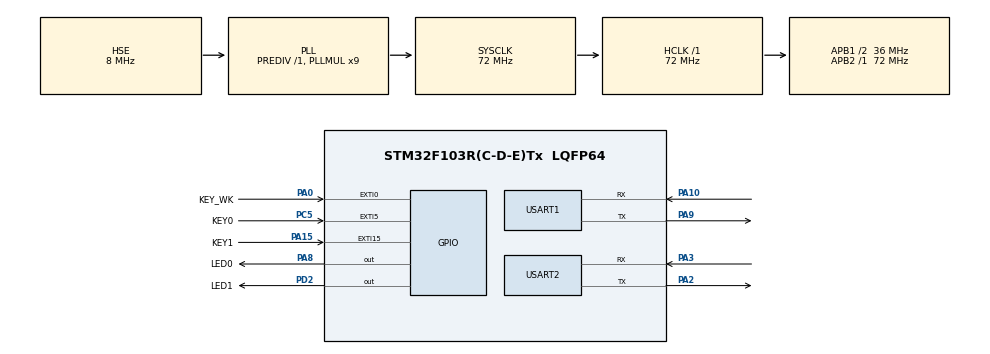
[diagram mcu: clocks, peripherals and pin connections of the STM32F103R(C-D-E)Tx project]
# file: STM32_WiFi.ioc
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Mcu.Family=STM32F1
Mcu.Name=STM32F103R(C-D-E)Tx
Mcu.Package=LQFP64
NVIC.EXTI0_IRQn=true\:1\:0\:true\:false\:true\:true\:true
NVIC.EXTI15_10_IRQn=true\:1\:2\:true\:false\:true\:true\:true
NVIC.EXTI9_5_IRQn=true\:1\:1\:true\:false\:true\:true\:true
NVIC.PriorityGroup=NVIC_PRIORITYGROUP_2
NVIC.TIM3_IRQn=true\:0\:0\:false\:false\:true\:true\:true
NVIC.USART1_IRQn=true\:0\:0\:false\:false\:true\:true\:true
NVIC.USART2_IRQn=true\:0\:1\:true\:false\:true\:true\:true
PA0-WKUP.GPIO_Label=KEY_WK
PA0-WKUP.GPIO_PuPd=GPIO_PULLDOWN
PA0-WKUP.Signal=GPXTI0
PA10.Mode=Asynchronous
PA10.Signal=USART1_RX
PA15.GPIO_Label=KEY1
PA15.GPIO_PuPd=GPIO_PULLDOWN
PA15.Signal=GPXTI15
PA2.Mode=Asynchronous
PA2.Signal=USART2_TX
PA3.Mode=Asynchronous
PA3.Signal=USART2_RX
PA8.GPIO_Label=LED0
PA8.Signal=GPIO_Output
PA9.Mode=Asynchronous
PA9.Signal=USART1_TX
PC5.GPIO_Label=KEY0
PC5.GPIO_PuPd=GPIO_PULLDOWN
PC5.Signal=GPXTI5
PD0-OSC_IN.Mode=HSE-External-Oscillator
PD0-OSC_IN.Signal=RCC_OSC_IN
PD1-OSC_OUT.Mode=HSE-External-Oscillator
PD1-OSC_OUT.Signal=RCC_OSC_OUT
PD2.GPIO_Label=LED1
PD2.Signal=GPIO_Output
ProjectManager.HeapSize=0x200
ProjectManager.StackSize=0x400
ProjectManager.TargetToolchain=STM32CubeIDE
RCC.AHBFreq_Value=72000000
RCC.APB1CLKDivider=RCC_HCLK_DIV2
RCC.APB1Freq_Value=36000000
RCC.APB1TimFreq_Value=72000000
RCC.APB2Freq_Value=72000000
RCC.APB2TimFreq_Value=72000000
RCC.HCLKFreq_Value=72000000
RCC.PLLMUL=RCC_PLL_MUL9
RCC.PLLSourceVirtual=RCC_PLLSOURCE_HSE
RCC.SYSCLKFreq_VALUE=72000000
RCC.SYSCLKSource=RCC_SYSCLKSOURCE_PLLCLK
RCC.USBFreq_Value=72000000
TIM3.Period=9999
TIM3.Prescaler=7199
USART1.VirtualMode=VM_ASYNC
USART2.VirtualMode=VM_ASYNC
VP_SYS_VS_ND.Mode=No_Debug
VP_TIM3_VS_ClockSourceINT.Mode=Internal
board=custom

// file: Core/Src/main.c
/* USER CODE BEGIN Header */
/**
  ******************************************************************************
  * @file           : main.c
  * @brief          : Main program body
  ******************************************************************************
  * @attention
  *
  * <h2><center>&copy; Copyright (c) 2020 STMicroelectronics.
  * All rights reserved.</center></h2>
  *
  * This software component is licensed by ST under BSD 3-Clause license,
  * the "License"; You may not use this file except in compliance with the
  * License. You may obtain a copy of the License at:
  *                        opensource.org/licenses/BSD-3-Clause
  *
  ******************************************************************************
  */
/* USER CODE END Header */

#include "main.h"

/* USER CODE BEGIN Includes */
#include "lcd.h"
#include "string.h"

//start
#include <stdio.h>
#include <string.h>
#include <stdint.h>
//end
/* USER CODE END Includes */

TIM_HandleTypeDef htim3;

UART_HandleTypeDef huart1;
UART_HandleTypeDef huart2;

void SystemClock_Config(void);

static void MX_GPIO_Init(void);

static void MX_TIM3_Init(void);

static void MX_USART2_UART_Init(void);

static void MX_USART1_UART_Init(void);

/* USER CODE BEGIN 0 */
uint8_t RxBuffer1[5000];
uint8_t RxBuffer2[5000];
uint8_t message1[2000]; //message displayed in LCD (most 1999 characters)
int message1_len = 0;
int IsSendingMessage1 = 0;
uint8_t message2[2000]; //message displayed in LCD (most 1999 characters)
int message2_len = 0;
int IsSendingMessage2 = 0;
uint16_t Front1 = 0, Front2 = 0;
uint16_t LastEnd1 = 0, LastEnd2 = 0;
uint16_t End1 = 0, End2 = 0;
int lightMode = 0;
int lightcount = 0;

int HasSendConnectedMessage = 0;
int FrequencyCounter = 10;
int ConnectionCheckCounter = 3;
char ConnectionChecker[] = "^^^^^^^^^^\r\n";
int isSendChecker = 0;
int isConnected = 0;
int Mode = 0; // AP Server = 1; AP Client = 2; STA Server = 3; STA Client = 4

char Reset[] = "AT+RST\r\n";
char SetSingleConnect[] = "AT+CIPMUX=0\r\n";
char SetMultiConnect[] = "AT+CIPMUX=1\r\n";
char Server_SendDataTCP[] = "AT+CIPSEND=0,25\r\n";
char Server_SendDataUDP[] = "AT+CIPSEND=25\r\n";
char Client_SendDataTCP[] = "AT+CIPSEND=25\r\n";
char CloseConnection[] = "AT+CIPCLOSE\r\n";
// AP Mode
char SetAPMode[] = "AT+CWMODE=2\r\n";
char Default_SetWiFiInfo[] = "AT+CWSAP=\"HelloSTM32\",\"12345678\",1,4\r\n";
char Default_SetServerIP[] = "AT+CIPAP=\"192.168.0.123\"\r\n";
char Default_StartServerAndSetPort[] = "AT+CIPSERVER=1,4567\r\n";
// STA Mode
char SetSTAMode[] = "AT+CWMODE=1\r\n";
char Default_ConnectToWiFi[] = "AT+CWJAP=\"HelloSTM32\",\"12345678\"\r\n";
char Default_ConnectToTCPServer[] = "AT+CIPSTART=\"TCP\",\"192.168.0.123\",4567\r\n";
char ConnectToWiFi[] = "AT+CWJAP=\"MZ\",\"lfyz1229\"\r\n";
char ConnectToTCPServer[] = "AT+CIPSTART=\"TCP\",\"192.168.43.196\",8086\r\n";
char ConnectToUDPServer[] = "AT+CIPSTART=\"UDP\",\"ip\",port\r\n";
char SetSeriaNet[] = "AT+CIPMODE=1\r\n";
char StartSerialNet[] = "AT+CIPSEND\r\n";
char CloseSerialNet[] = "+++";

// AP & STA Mode
char SetAPSTAMode[] = "AT+CWMODE=3\r\n";

// Check List
int DefaultTimeout = 200; // true timeout = default * 10
char ResponseOK[] = "OK";
char ResponseError[] = "ERROR";
char ResponseReady[] = "ready";
char CheckConnectionStatus[] = "AT+CIPSTATUS\r\n";
char CheckLocalIP[] = "AT+CIFSR\r\n";

int IsSetUp = 0;
int msgY = 30;
int spacing = 10;
int rowHeight = 15;
int msgX = 25;
int rowWidth = 190;
int oneRow = 31;
int size = 12;
/* USER CODE END 0 */

int main(void) {

    /* MCU Configuration--------------------------------------------------------*/

    /* Reset of all peripherals, Initializes the Flash interface and the Systick. */
    HAL_Init();

    /* Configure the system clock */
    SystemClock_Config();

    /* Initialize all configured peripherals */
    MX_GPIO_Init();
    MX_TIM3_Init();
    MX_USART2_UART_Init();
    MX_USART1_UART_Init();
    /* USER CODE BEGIN 2 */
    HAL_TIM_Base_Start_IT(&htim3);
    LCD_Init();
    HAL_UART_Receive_IT(&huart1, &RxBuffer1[End1++], 1);
    HAL_UART_Receive_IT(&huart2, &RxBuffer2[End2++], 1);
    /* USER CODE END 2 */

    /* Infinite loop */
    /* USER CODE BEGIN WHILE */
    while (1) {
        if (IsSendingMessage2) {
    		int length = message2_len;
    		int rows = length / oneRow + 1;
            if (msgY + rows * rowHeight > 320) {
            	LCD_Clear(WHITE);
            	msgY = 30;
            }
            POINT_COLOR = BLUE;
            NotationMsg2();
            DisplayString(message2, 0);
            IsSendingMessage2 = 0;
            memset(message2, 0, sizeof message2);
        }
        if (IsSendingMessage1) {
    		int length = message1_len;
    		int rows = length / oneRow + 1;
            if (msgY + rows * rowHeight > 320) {
            	LCD_Clear(WHITE);
            	msgY = 30;
            }
            POINT_COLOR = BLACK;
            NotationMsg1();
            DisplayString(message1, 1);
            IsSendingMessage1 = 0;
            memset(message1, 0, sizeof message1);
        }
        /* USER CODE END WHILE */

        /* USER CODE BEGIN 3 */
        POINT_COLOR = BLACK;
        LCD_DrawRectangle(0, 0, 240, 20);
        LCD_DrawRectangle(0, 20, 20, 320);
        LCD_DrawRectangle(220, 20, 240, 320);
        //MATE'S MESSAGE
        POINT_COLOR = BLUE;
        LCD_ShowString(10, 5, 90, 10, 12, (uint8_t *) "192.168.0.123");
        //MY MESSAGE
        POINT_COLOR = BLACK;
        LCD_ShowString(145, 5, 90, 10, 12, (uint8_t *) "Team MacroHard");

        //Check Connection Status
        if (IsSetUp) {
            if (!isConnected) {
                POINT_COLOR = RED;
                LCD_Draw_Circle(120, 10, 6);
                LCD_Draw_Circle(120, 10, 5);
                LCD_Draw_Circle(120, 10, 4);
                LCD_Draw_Circle(120, 10, 3);
                LCD_Draw_Circle(120, 10, 2);
                LCD_Draw_Circle(120, 10, 1);
                //DrawCircle(120, 10, 5);
            } else {
                POINT_COLOR = GREEN;
                LCD_Draw_Circle(120, 10, 6);
                POINT_COLOR = WHITE;
                LCD_Draw_Circle(120, 10, 5);
                LCD_Draw_Circle(120, 10, 4);
                LCD_Draw_Circle(120, 10, 3);
                LCD_Draw_Circle(120, 10, 2);
                LCD_Draw_Circle(120, 10, 1);
                //DrawCircle(120, 10, 6);
            }
        }
    }
    /* USER CODE END 3 */
}

void SystemClock_Config(void) {
    RCC_OscInitTypeDef RCC_OscInitStruct = {0};
    RCC_ClkInitTypeDef RCC_ClkInitStruct = {0};

    /** Initializes the CPU, AHB and APB busses clocks
    */
    RCC_OscInitStruct.OscillatorType = RCC_OSCILLATORTYPE_HSE;
    RCC_OscInitStruct.HSEState = RCC_HSE_ON;
    RCC_OscInitStruct.HSEPredivValue = RCC_HSE_PREDIV_DIV1;
    RCC_OscInitStruct.HSIState = RCC_HSI_ON;
    RCC_OscInitStruct.PLL.PLLState = RCC_PLL_ON;
    RCC_OscInitStruct.PLL.PLLSource = RCC_PLLSOURCE_HSE;
    RCC_OscInitStruct.PLL.PLLMUL = RCC_PLL_MUL9;
    if (HAL_RCC_OscConfig(&RCC_OscInitStruct) != HAL_OK) {
        Error_Handler();
    }
    /** Initializes the CPU, AHB and APB busses clocks
    */
    RCC_ClkInitStruct.ClockType = RCC_CLOCKTYPE_HCLK | RCC_CLOCKTYPE_SYSCLK
                                  | RCC_CLOCKTYPE_PCLK1 | RCC_CLOCKTYPE_PCLK2;
    RCC_ClkInitStruct.SYSCLKSource = RCC_SYSCLKSOURCE_PLLCLK;
    RCC_ClkInitStruct.AHBCLKDivider = RCC_SYSCLK_DIV1;
    RCC_ClkInitStruct.APB1CLKDivider = RCC_HCLK_DIV2;
    RCC_ClkInitStruct.APB2CLKDivider = RCC_HCLK_DIV1;

    if (HAL_RCC_ClockConfig(&RCC_ClkInitStruct, FLASH_LATENCY_2) != HAL_OK) {
        Error_Handler();
    }
}

static void MX_TIM3_Init(void) {

    TIM_ClockConfigTypeDef sClockSourceConfig = {0};
    TIM_MasterConfigTypeDef sMasterConfig = {0};

    htim3.Instance = TIM3;
    htim3.Init.Prescaler = 7199;
    htim3.Init.CounterMode = TIM_COUNTERMODE_UP;
    htim3.Init.Period = 9999;
    htim3.Init.ClockDivision = TIM_CLOCKDIVISION_DIV1;
    htim3.Init.AutoReloadPreload = TIM_AUTORELOAD_PRELOAD_DISABLE;
    if (HAL_TIM_Base_Init(&htim3) != HAL_OK) {
        Error_Handler();
    }
    sClockSourceConfig.ClockSource = TIM_CLOCKSOURCE_INTERNAL;
    if (HAL_TIM_ConfigClockSource(&htim3, &sClockSourceConfig) != HAL_OK) {
        Error_Handler();
    }
    sMasterConfig.MasterOutputTrigger = TIM_TRGO_RESET;
    sMasterConfig.MasterSlaveMode = TIM_MASTERSLAVEMODE_DISABLE;
    if (HAL_TIMEx_MasterConfigSynchronization(&htim3, &sMasterConfig) != HAL_OK) {
        Error_Handler();
    }

}

static void MX_USART1_UART_Init(void) {

    huart1.Instance = USART1;
    huart1.Init.BaudRate = 115200;
    huart1.Init.WordLength = UART_WORDLENGTH_8B;
    huart1.Init.StopBits = UART_STOPBITS_1;
    huart1.Init.Parity = UART_PARITY_NONE;
    huart1.Init.Mode = UART_MODE_TX_RX;
    huart1.Init.HwFlowCtl = UART_HWCONTROL_NONE;
    huart1.Init.OverSampling = UART_OVERSAMPLING_16;
    if (HAL_UART_Init(&huart1) != HAL_OK) {
        Error_Handler();
    }

}

static void MX_USART2_UART_Init(void) {

    huart2.Instance = USART2;
    huart2.Init.BaudRate = 115200;
    huart2.Init.WordLength = UART_WORDLENGTH_8B;
    huart2.Init.StopBits = UART_STOPBITS_1;
    huart2.Init.Parity = UART_PARITY_NONE;
    huart2.Init.Mode = UART_MODE_TX_RX;
    huart2.Init.HwFlowCtl = UART_HWCONTROL_NONE;
    huart2.Init.OverSampling = UART_OVERSAMPLING_16;
    if (HAL_UART_Init(&huart2) != HAL_OK) {
        Error_Handler();
    }

}

static void MX_GPIO_Init(void) {
    GPIO_InitTypeDef GPIO_InitStruct = {0};

    /* GPIO Ports Clock Enable */
    __HAL_RCC_GPIOD_CLK_ENABLE();
    __HAL_RCC_GPIOA_CLK_ENABLE();
    __HAL_RCC_GPIOC_CLK_ENABLE();

    /*Configure GPIO pin Output Level */
    HAL_GPIO_WritePin(LED0_GPIO_Port, LED0_Pin, GPIO_PIN_RESET);

    /*Configure GPIO pin Output Level */
    HAL_GPIO_WritePin(LED1_GPIO_Port, LED1_Pin, GPIO_PIN_RESET);

    /*Configure GPIO pin : KEY_WK_Pin */
    GPIO_InitStruct.Pin = KEY_WK_Pin;
    GPIO_InitStruct.Mode = GPIO_MODE_IT_RISING;
    GPIO_InitStruct.Pull = GPIO_PULLDOWN;
    HAL_GPIO_Init(KEY_WK_GPIO_Port, &GPIO_InitStruct);

    /*Configure GPIO pin : KEY0_Pin */
    GPIO_InitStruct.Pin = KEY0_Pin;
    GPIO_InitStruct.Mode = GPIO_MODE_IT_RISING;
    GPIO_InitStruct.Pull = GPIO_PULLUP;
    HAL_GPIO_Init(KEY0_GPIO_Port, &GPIO_InitStruct);

    /*Configure GPIO pin : LED0_Pin */
    GPIO_InitStruct.Pin = LED0_Pin;
    GPIO_InitStruct.Mode = GPIO_MODE_OUTPUT_PP;
    GPIO_InitStruct.Pull = GPIO_NOPULL;
    GPIO_InitStruct.Speed = GPIO_SPEED_FREQ_LOW;
    HAL_GPIO_Init(LED0_GPIO_Port, &GPIO_InitStruct);

    /*Configure GPIO pin : KEY1_Pin */
    GPIO_InitStruct.Pin = KEY1_Pin;
    GPIO_InitStruct.Mode = GPIO_MODE_IT_RISING;
    GPIO_InitStruct.Pull = GPIO_PULLUP;
    HAL_GPIO_Init(KEY1_GPIO_Port, &GPIO_InitStruct);

    /*Configure GPIO pin : LED1_Pin */
    GPIO_InitStruct.Pin = LED1_Pin;
    GPIO_InitStruct.Mode = GPIO_MODE_OUTPUT_PP;
    GPIO_InitStruct.Pull = GPIO_NOPULL;
    GPIO_InitStruct.Speed = GPIO_SPEED_FREQ_LOW;
    HAL_GPIO_Init(LED1_GPIO_Port, &GPIO_InitStruct);

    /* EXTI interrupt init*/
    HAL_NVIC_SetPriority(EXTI0_IRQn, 1, 0);
    HAL_NVIC_EnableIRQ(EXTI0_IRQn);

    HAL_NVIC_SetPriority(EXTI9_5_IRQn, 1, 1);
    HAL_NVIC_EnableIRQ(EXTI9_5_IRQn);

    HAL_NVIC_SetPriority(EXTI15_10_IRQn, 1, 2);
    HAL_NVIC_EnableIRQ(EXTI15_10_IRQn);

}

/* USER CODE BEGIN 4 */

int GetMsgLength(char* msg) {
    int count = 0;
    for (int i = 0; i < 1999; i++) {
        if (msg[i] == msg[1999]) {
            break;
        }
        count++;
    }
    return count-1;
}

void DisplayString(char* msg, int ismsg1) {
	int length = 0;
	int rows = 0;
	char temp[oneRow];
	if(ismsg1){
		length = message1_len;
		int rows = length / oneRow + 1;
		for (int i = 0; i < rows; i++) {
			if (i == rows - 1) {
				int rest = length - i * oneRow;
				int blank = oneRow - rest;
				for (int j = 0; j < oneRow; j++) {
					temp[j] = ' ';
				}
				for (int j = 0; j < rest; j++) {
					temp[j + blank] = msg[i * oneRow + j];
				}
			} else {
				for (int j = 0; j < oneRow; j++) {
					temp[j] = msg[i * oneRow + j];
				}
			}
			LCD_ShowString(msgX, msgY, rowWidth, rowHeight, size, temp);
			msgY = msgY + rowHeight;
		}
	}else{
		length = message2_len;
		int rows = length / oneRow + 1;
		for (int i = 0; i < rows; i++) {
			if (i == rows - 1) {
				int word = length - i * oneRow;
				int blank = oneRow - word;
				for (int j = 0; j < word; j++) {
					temp[j] = msg[i * oneRow + j];
				}
				for (int j = 0; j < blank; j++) {
					temp[j + word] = ' ';
				}
			} else {
				for (int j = 0; j < oneRow; j++) {
					temp[j] = msg[i * oneRow + j];
				}
			}
			LCD_ShowString(msgX, msgY, rowWidth, rowHeight, size, temp);
			msgY = msgY + rowHeight;
		}
	}
}

int SendCommand(char cmd[], char expectReponse[], int time_out) {
    char *indexOK = 0;
    int findExpectResponse = 0;
    HAL_UART_Transmit(&huart2, (uint8_t *) cmd, strlen(cmd), HAL_MAX_DELAY);
    if (expectReponse && time_out) {
        while (--time_out) {
            HAL_Delay(10);
            indexOK = strstr(RxBuffer2, expectReponse);
            if (indexOK) {
                findExpectResponse = 1;
                break;
            }
        }
    }

    // Check response
    if (findExpectResponse) {
        HAL_UART_Transmit(&huart1, "Success\r\n", 9, HAL_MAX_DELAY);
    } else if (time_out == 0) {
        HAL_UART_Transmit(&huart1, "Timeout\r\n", 9, HAL_MAX_DELAY);
    } else {
        HAL_UART_Transmit(&huart1, "Fail\r\n", 6, HAL_MAX_DELAY);
    }
    HAL_Delay(1000);
}

int ConnectionFail(char cmd[], char expectResponse1[], char expectResponse2[], int time_out) {
    char *indexOK1 = 0;
    char *indexOK2 = 0;
    int findExpectResponse = 0;
    //HAL_UART_Transmit(&huart2, (uint8_t*)cmd, strlen(cmd), HAL_MAX_DELAY);
    if (expectResponse1 && expectResponse2 && time_out) {
        while (--time_out) {
            HAL_Delay(10);
            indexOK1 = strstr(RxBuffer2, expectResponse1);
            indexOK2 = strstr(RxBuffer2, expectResponse2);
            if (indexOK1 || indexOK2) {
                findExpectResponse = 1;
                return 1;
                break;
            }
        }
    }
}

void HAL_TIM_PeriodElapsedCallback(TIM_HandleTypeDef *htim)
{
	if(lightMode == 1){
		HAL_GPIO_TogglePin(LED0_GPIO_Port, LED0_Pin);
		HAL_GPIO_TogglePin(LED1_GPIO_Port, LED1_Pin);
		lightcount += 1;
		if(lightcount == 2)
			lightcount = 0;
	}
	else if(lightMode == 0){
		if(lightcount%2 == 1){
			HAL_GPIO_TogglePin(LED0_GPIO_Port, LED0_Pin);
			HAL_GPIO_TogglePin(LED1_GPIO_Port, LED1_Pin);
			lightcount += 1;
		}
	}

	if(Front2 < End2 - 1 && End2!=1)
	{

		if(RxBuffer2[2] == '+' && RxBuffer2[3] == 'I' && RxBuffer2[4] == 'P')
		{
			int index = 0;
			for(int i = 5;i<End2-1;i++)
			{
				if(RxBuffer2[i] == ':')
				{
					index = i;
					break;
				}
			}
			//HAL_UART_Transmit(&huart1,&msg,strlen(msg),HAL_MAX_DELAY);
			if(index > 0){
				if (RxBuffer2[index+1] == '^')
				{
					IsSendingMessage2 = 0;
					message2_len = 0;
					HAL_UART_Transmit(&huart1, "Receive check, ", 15, HAL_MAX_DELAY);
				}
				else
				{
					IsSendingMessage2 = 1;
					for (int i=index+1; i<End2-1;i++)
						message2[i-index-1] = RxBuffer2[i];
					message2_len = End2 - (index-1) - 1;
					HAL_UART_Transmit(&huart1, "Receive data, ", 14, HAL_MAX_DELAY);
				}
				ConnectionCheckCounter = 3;
				//FrequencyCounter = 10;
				isSendChecker = 0;
				lightMode = 1;
				isConnected = 1;
				HasSendConnectedMessage = 0;
				HAL_UART_Transmit(&huart1, "Counter reset\r\n", 15, HAL_MAX_DELAY);
			}
		}
		HAL_UART_Transmit(&huart1, &RxBuffer2[0], End2-1, HAL_MAX_DELAY);
		Front2 = 0;
		End2 = 0;
		(&huart2)->RxState = 32;
		HAL_UART_Receive_IT(&huart2, &RxBuffer2[End2++], 1);
	} else {
		message2_len = 0;
	}

	if(Front1 < End1 - 1 && End1!=1)
	{
		char msg[2000];
		for(int i=0;i<End1-1;i++){
			msg[i] = RxBuffer1[i];
		}
		if(End1 - 1>=5 &&msg[0] == 's' && msg[1] == 'e' && msg[2] == 'n' && msg[3] == 'd' && msg[4] ==':'){
			IsSendingMessage1 = 1;
			char SendDataCommand[22];
			if(Mode == 1)
				sprintf(SendDataCommand, "AT+CIPSEND=0,%d\r\n", End1-1-5);
			else if(Mode == 4)
				sprintf(SendDataCommand, "AT+CIPSEND=%d\r\n", End1-1-5);
			HAL_UART_Transmit(&huart2, SendDataCommand, 22, HAL_MAX_DELAY); //send command to wifi

			HAL_UART_Transmit(&huart1, &msg[5], End1-1-5, HAL_MAX_DELAY);	//message echo
			HAL_UART_Transmit(&huart2, &msg[5], End1-1-5, HAL_MAX_DELAY);	//send message to wifi

			//Send the message to LCD Buffer
			for (int i=0; i<End1-6;i++){
				message1[i] = msg[i+5];
			}
			message1_len = End1 - 6;
		}else{
			msg[End1-1] = '\r';
			msg[End1] = '\n';
			HAL_UART_Transmit(&huart1,&msg,End1+1,HAL_MAX_DELAY);
			HAL_UART_Transmit(&huart2,&msg,End1+1,HAL_MAX_DELAY);
		}
		//reset USART1
		Front1 = 0;
		End1 = 0;
		(&huart1)->RxState = 32;
		HAL_UART_Receive_IT(&huart1, &RxBuffer1[End1++], 1);
	} else {
        message1_len = 0;
        if (IsSetUp)
        {
    		if (FrequencyCounter == 0)
    		{
    			FrequencyCounter = 10;
    			char SendDataCommand[22];
    			if (Mode == 1)
    			{
    				sprintf(SendDataCommand, "AT+CIPSEND=0,10\r\n");
    			}
    			else if (Mode == 4)
    			{
    				sprintf(SendDataCommand, "AT+CIPSEND=10\r\n");
    			}
    			if (!isSendChecker)
    			{
    				HAL_UART_Transmit(&huart2, SendDataCommand, 22, HAL_MAX_DELAY);
    				HAL_UART_Transmit(&huart1, ConnectionChecker, 12, HAL_MAX_DELAY);
    				HAL_UART_Transmit(&huart2, ConnectionChecker, 12, HAL_MAX_DELAY);
    				isSendChecker = 1;
    			}
    			else
    			{
    				if (ConnectionCheckCounter > -1)
    					ConnectionCheckCounter--;
    			}
    			if (ConnectionCheckCounter == 0)
    			{
    				lightMode = 0;
    				isConnected = 0;
    				HasSendConnectedMessage = 0;
    				HAL_UART_Transmit(&huart1, "Connection lost\r\n", 17, HAL_MAX_DELAY);
    			}
    			else if (ConnectionCheckCounter > 0)
    			{
    				if (!HasSendConnectedMessage)
    				{
    					lightMode = 1;
    					isConnected = 1;
    					HAL_UART_Transmit(&huart1, "Connected\r\n", 17, HAL_MAX_DELAY);
    					HasSendConnectedMessage = 1;
    				}
    			}
    		}
    		else
    		{
    			FrequencyCounter--;
    		}
        }
	}
}

void HAL_UART_RxCpltCallback(UART_HandleTypeDef *huart) {
    if (huart == &huart1) {
        HAL_UART_Receive_IT(&huart1, &RxBuffer1[End1++], 1);
    }
    if (huart == &huart2) {
        HAL_UART_Receive_IT(&huart2, &RxBuffer2[End2++], 1);
    }
}

void HAL_GPIO_EXTI_Callback(uint16_t GPIO_Pin) {
    switch (GPIO_Pin) {
        case KEY0_Pin:
            if (HAL_GPIO_ReadPin(KEY0_GPIO_Port, KEY0_Pin) == GPIO_PIN_RESET) {
                IsSetUp = 0;
                HAL_UART_Transmit(&huart1, "SetSTA\r\n", 8, HAL_MAX_DELAY);

                SendCommand(SetSTAMode, ResponseOK, DefaultTimeout);
                SendCommand(Reset, ResponseOK, DefaultTimeout);
                HAL_Delay(1000);
                HAL_Delay(1000);
                SendCommand(Default_ConnectToWiFi, ResponseOK, DefaultTimeout);
                SendCommand(SetSingleConnect, ResponseOK, DefaultTimeout);
                SendCommand(Default_ConnectToTCPServer, ResponseOK, DefaultTimeout);
                //SendCommand(SetSeriaNet, ResponseOK, DefaultTimeout);
                //SendCommand(StartSerialNet, ResponseOK, DefaultTimeout);
                Mode = 4;
                HAL_UART_Transmit(&huart1, "Finish\r\n", 8, HAL_MAX_DELAY);
                IsSetUp = 1;
                lightMode = 1;
            }
            break;
        case KEY1_Pin:
            if (HAL_GPIO_ReadPin(KEY1_GPIO_Port, KEY1_Pin) == GPIO_PIN_RESET) {
                IsSetUp = 0;
                HAL_UART_Transmit(&huart1, "SetAP\r\n", 7, HAL_MAX_DELAY);

                SendCommand(SetAPMode, ResponseOK, DefaultTimeout);
                SendCommand(Reset, ResponseOK, DefaultTimeout);
                HAL_Delay(1000);
                HAL_Delay(1000);
                SendCommand(Default_SetWiFiInfo, ResponseOK, DefaultTimeout);
                SendCommand(Default_SetServerIP, ResponseOK, DefaultTimeout);
                SendCommand(SetMultiConnect, ResponseOK, DefaultTimeout);
                SendCommand(Default_StartServerAndSetPort, ResponseOK, DefaultTimeout);
                Mode = 1;
                HAL_UART_Transmit(&huart1, "Finish\r\n", 8, HAL_MAX_DELAY);
                IsSetUp = 1;
                lightMode = 1;
            }
            break;
        case KEY_WK_Pin:
            if (HAL_GPIO_ReadPin(KEY_WK_GPIO_Port, KEY_WK_Pin) == GPIO_PIN_SET) {
                //SendCommand(CloseSerialNet, ResponseOK, DefaultTimeout);
                SendCommand(CloseConnection, ResponseOK, DefaultTimeout);
                lightMode = 0;
                isConnected = 0;
            }
            break;
        default:
            break;
    }
}

void NotationMsg1() {
    LCD_DrawLine(222, msgY + 6, 232, msgY + 6);
    LCD_DrawLine(222, msgY + 5, 232, msgY + 5);
    LCD_DrawLine(222, msgY + 7, 232, msgY + 7);
}

void NotationMsg2() {
    LCD_DrawLine(8 - 1, msgY + 6, 18, msgY + 6);
    LCD_DrawLine(8, msgY + 5, 18, msgY + 5);
    LCD_DrawLine(8, msgY + 7, 18, msgY + 7);
}

/* USER CODE END 4 */

void Error_Handler(void) {
}

/************************ (C) COPYRIGHT STMicroelectronics *****END OF FILE****/
